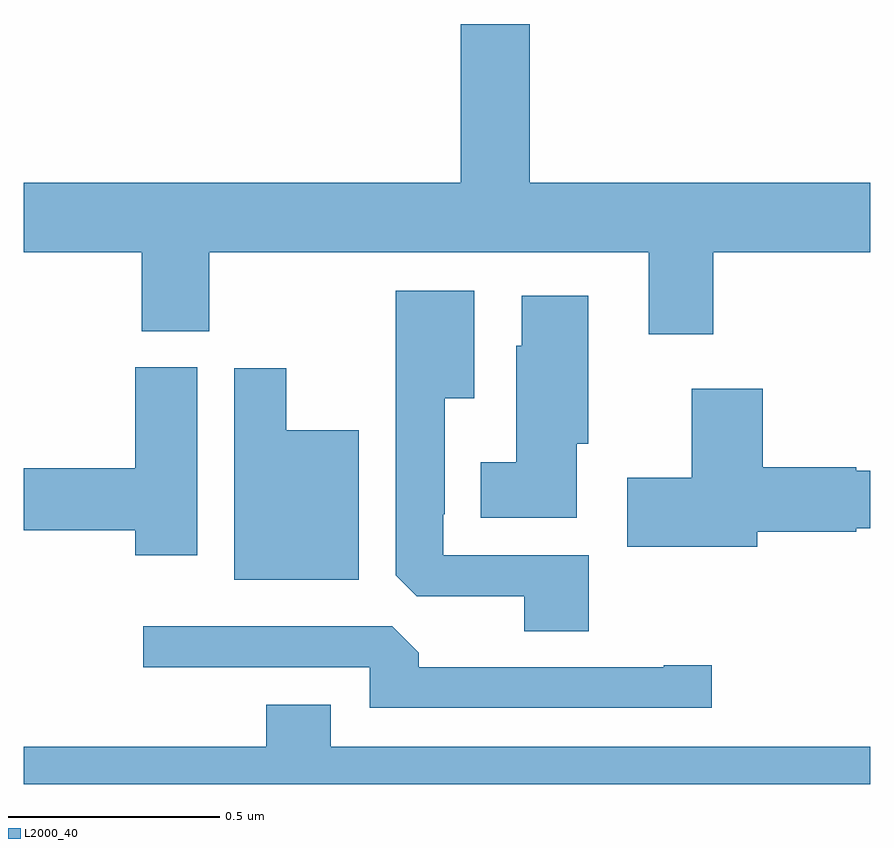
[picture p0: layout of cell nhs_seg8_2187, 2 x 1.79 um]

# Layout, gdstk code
import gdstk
lib = gdstk.Library(unit=1e-6, precision=1e-09)
def P(c, l, *ps):  # polygons
    for p in ps: c.add(gdstk.Polygon(p, *l))
L2000_40 = (2000, 40)

nhs_seg8_2187 = lib.new_cell('nhs_seg8_2187')
P(nhs_seg8_2187, L2000_40, [(141.629,1127.156),(142,1127.156),(142,1127.32),(141.196,1127.32),(141.196,1127.695),(141.032,1127.695),(141.032,1127.32),(140,1127.32),(140,1127.156),(140.279,1127.156),(140.279,1126.969),(140.439,1126.969),(140.439,1127.156),(141.476,1127.156),(141.476,1126.962),(141.629,1126.962)],
  [(141.335,1126.44),(140.991,1126.44),(140.991,1126.537),(140.995,1126.537),(140.995,1126.811),(141.064,1126.811),(141.064,1127.065),(140.879,1127.065),(140.879,1126.393),(140.928,1126.344),(141.182,1126.344),(141.182,1126.261),(141.335,1126.261)],
  [(141.307,1126.704),(141.334,1126.704),(141.334,1127.053),(141.176,1127.053),(141.176,1126.935),(141.164,1126.935),(141.164,1126.66),(141.08,1126.66),(141.08,1126.529),(141.307,1126.529)],
  [(140.41,1126.884),(140.264,1126.884),(140.264,1126.646),(140,1126.646),(140,1126.499),(140.264,1126.499),(140.264,1126.44),(140.41,1126.44)],
  [(140.791,1126.735),(140.62,1126.735),(140.62,1126.882),(140.498,1126.882),(140.498,1126.382),(140.791,1126.382)],
  [(141.733,1126.496),(141.966,1126.496),(141.966,1126.504),(142,1126.504),(142,1126.64),(141.966,1126.64),(141.966,1126.648),(141.746,1126.648),(141.746,1126.834),(141.578,1126.834),(141.578,1126.623),(141.426,1126.623),(141.426,1126.46),(141.733,1126.46)],
  [(141.625,1126.181),(141.512,1126.181),(141.512,1126.176),(140.933,1126.176),(140.933,1126.21),(140.871,1126.272),(140.283,1126.272),(140.283,1126.176),(140.817,1126.176),(140.817,1126.08),(141.625,1126.08)],
  [(142,1125.988),(140.725,1125.988),(140.725,1126.087),(140.573,1126.087),(140.573,1125.988),(140,1125.988),(140,1125.9),(142,1125.9)])

lib.write_gds('nhs_seg8_2187.gds')
